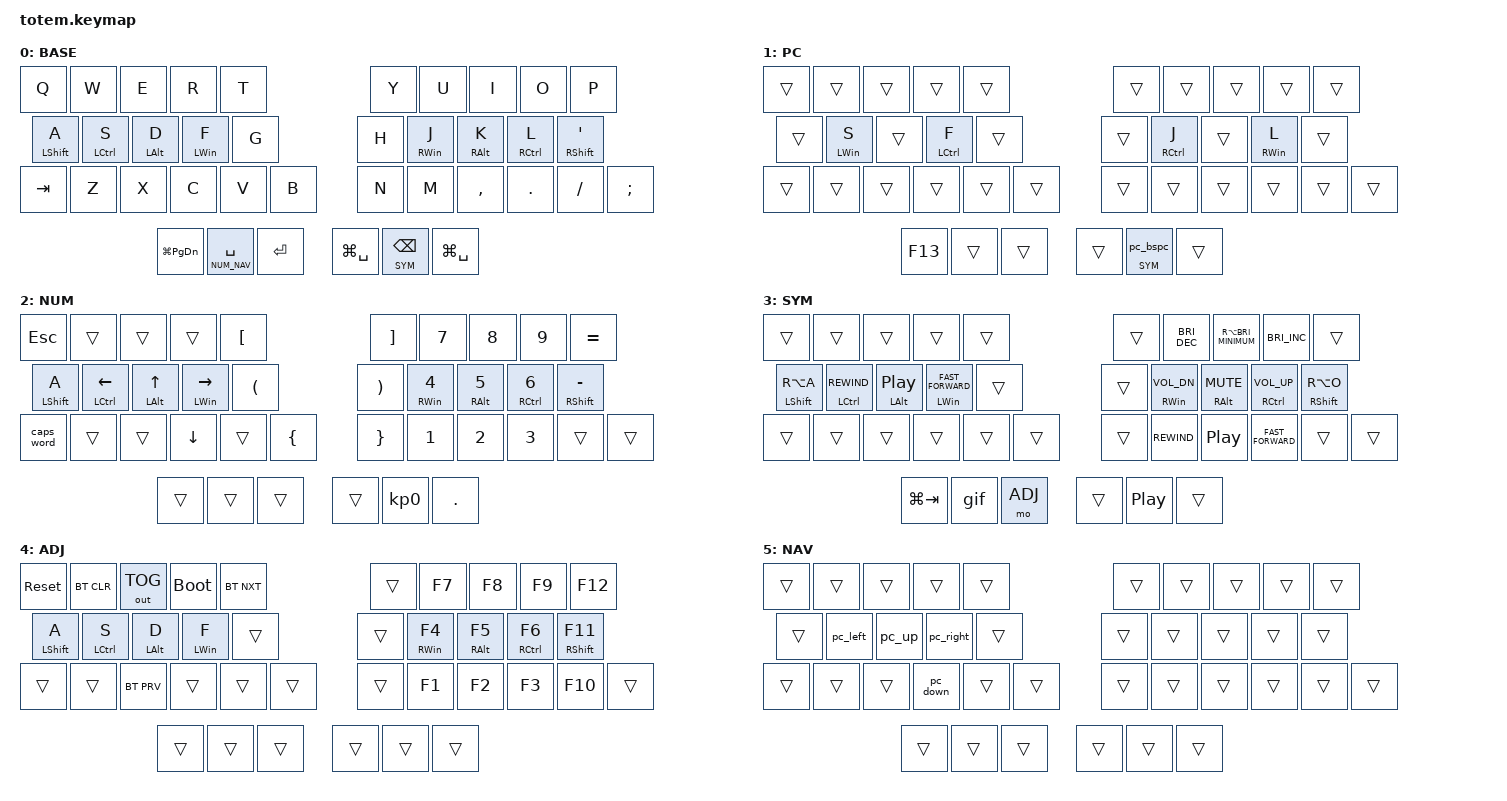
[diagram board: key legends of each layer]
//
//                                                        ▀▀▀▀▀     ▀▀▀▀▀          ▀▀█▀▀
//                                                        ▄▀▀▀▄  ▄  ▄▀▀▀▄  ▄  ▄▀▀▀▄  █  ▄▀▀▀▄
//                                                        █   █  █  █   █  █  █   █  █  █   █
//                                                         ▀▀▀   █   ▀▀▀   █   ▀▀▀   ▀   ▀▀▀
//                                                               █      ▄▄▄█▄▄▄    █   █  
//                                                               ▀      █  █  █     █▄█
//                                                             ▀▀▀▀▀    █  █  █      ▀
//                                                                      ▀  ▀  ▀
//
// ▄▄▄▄▄▄▄▄▄▄▄▄▄▄▄▄▄▄▄▄▄▄▄▄▄▄▄▄▄▄▄▄▄▄▄▄▄▄▄▄▄▄▄▄▄▄▄▄▄▄▄▄▄▄▄▄▄▄▄▄▄▄▄▄▄▄▄▄▄▄▄▄▄▄▄▄▄▄▄▄▄▄▄▄▄▄▄▄▄▄▄▄▄▄▄▄▄▄▄▄▄▄▄▄▄▄▄▄▄▄▄▄▄▄▄▄▄▄▄▄▄▄▄▄▄▄▄▄▄▄▄▄▄▄▄▄▄▄▄▄▄▄▄▄▄▄▄▄▄

#include <behaviors.dtsi>
#include <dt-bindings/zmk/behaviors.h>
#include <dt-bindings/zmk/bt.h>
#include <dt-bindings/zmk/keys.h>
#include <dt-bindings/zmk/outputs.h>

#define BASE 0
#define PC 1
#define NUM_NAV 2
#define SYM 3
#define ADJ 4
#define PC_NAV 5

&mt {
    quick-tap-ms = <150>;
    flavor = "balanced";
    tapping-term-ms = <300>;
};

/ {
    combos {
        compatible = "zmk,combos";

        combo_esc {
            timeout-ms = <50>;
            key-positions = <0 1>;
            bindings = <&kp ESC>;
        };

        combo_tvp {
            timeout-ms = <100>;
            key-positions = <11 12 13>;
            bindings = <&tog 0>;
        };

        combo_studio_unlock {
            timeout-ms = <250>;
            key-positions = <0 9>;
            bindings = <&studio_unlock>;
        };
    };

    macros {
        gif: gif {
            label = "giphy";
            compatible = "zmk,behavior-macro";
            #binding-cells = <0>;
            bindings =
                <&macro_press>,
                <&kp LSHFT>,
                <&macro_tap>,
                <&kp N2>,
                <&macro_release>,
                <&kp LSHFT>,
                <&macro_tap>,
                <&kp G &kp I &kp F>;
        };

        delete_line_start: delete_line_start {
            label = "DELETE_LINE_START";
            compatible = "zmk,behavior-macro";
            #binding-cells = <0>;
            bindings =
                <&macro_press>,
                <&kp LSHFT>,
                <&macro_tap>,
                <&kp HOME>,
                <&macro_release>,
                <&kp LSHFT>,
                <&macro_tap>,
                <&kp BACKSPACE>;
        };
    };

    behaviors {
        // A mod-morph masks modifiers listed in `mods` by default. Shift is
        // deliberately omitted from the PC navigation morphs so selection
        // remains active across repeated arrow presses.
        bspc_del: bspc_del {
            compatible = "zmk,behavior-mod-morph";
            label = "BSPC_DEL";
            bindings = <&kp BACKSPACE>, <&kp DELETE>;

            #binding-cells = <0>;
            mods = <(MOD_LSFT|MOD_RSFT)>;
        };

        pc_left_alt: pc_left_alt {
            compatible = "zmk,behavior-mod-morph";
            #binding-cells = <0>;
            bindings = <&kp LEFT>, <&kp LC(LEFT)>;
            mods = <(MOD_LALT|MOD_RALT)>;
        };

        pc_left: pc_left {
            compatible = "zmk,behavior-mod-morph";
            #binding-cells = <0>;
            bindings = <&pc_left_alt>, <&kp HOME>;
            mods = <(MOD_LCTL|MOD_RCTL)>;
        };

        pc_right_alt: pc_right_alt {
            compatible = "zmk,behavior-mod-morph";
            #binding-cells = <0>;
            bindings = <&kp RIGHT>, <&kp LC(RIGHT)>;
            mods = <(MOD_LALT|MOD_RALT)>;
        };

        pc_right: pc_right {
            compatible = "zmk,behavior-mod-morph";
            #binding-cells = <0>;
            bindings = <&pc_right_alt>, <&kp END>;
            mods = <(MOD_LCTL|MOD_RCTL)>;
        };

        pc_up_alt: pc_up_alt {
            compatible = "zmk,behavior-mod-morph";
            #binding-cells = <0>;
            bindings = <&kp UP>, <&kp LC(UP)>;
            mods = <(MOD_LALT|MOD_RALT)>;
        };

        pc_up: pc_up {
            compatible = "zmk,behavior-mod-morph";
            #binding-cells = <0>;
            bindings = <&pc_up_alt>, <&kp LC(HOME)>;
            mods = <(MOD_LCTL|MOD_RCTL)>;
        };

        pc_down_alt: pc_down_alt {
            compatible = "zmk,behavior-mod-morph";
            #binding-cells = <0>;
            bindings = <&kp DOWN>, <&kp LC(DOWN)>;
            mods = <(MOD_LALT|MOD_RALT)>;
        };

        pc_down: pc_down {
            compatible = "zmk,behavior-mod-morph";
            #binding-cells = <0>;
            bindings = <&pc_down_alt>, <&kp LC(END)>;
            mods = <(MOD_LCTL|MOD_RCTL)>;
        };

        pc_bspc_shift: pc_bspc_shift {
            compatible = "zmk,behavior-mod-morph";
            #binding-cells = <0>;
            bindings = <&kp BACKSPACE>, <&kp DELETE>;
            mods = <(MOD_LSFT|MOD_RSFT)>;
        };

        pc_bspc_alt: pc_bspc_alt {
            compatible = "zmk,behavior-mod-morph";
            #binding-cells = <0>;
            bindings = <&pc_bspc_shift>, <&kp LC(BACKSPACE)>;
            mods = <(MOD_LALT|MOD_RALT)>;
        };

        pc_bspc: pc_bspc {
            compatible = "zmk,behavior-mod-morph";
            #binding-cells = <0>;
            bindings = <&pc_bspc_alt>, <&delete_line_start>;
            mods = <(MOD_LCTL|MOD_RCTL)>;
        };

        pc_bspc_lt: pc_bspc_layer_tap {
            compatible = "zmk,behavior-hold-tap";
            #binding-cells = <2>;
            flavor = "tap-preferred";
            tapping-term-ms = <200>;
            bindings = <&mo>, <&pc_bspc>;
        };

    };

    conditional_layers {
        compatible = "zmk,conditional-layers";

        pc_nav {
            if-layers = <PC NUM_NAV>;
            then-layer = <PC_NAV>;
        };
    };

    keymap {
        compatible = "zmk,keymap";

        // ▄▄▄▄▄▄▄▄▄▄▄▄▄▄▄▄▄▄▄▄▄▄▄▄▄▄▄▄▄▄▄▄▄▄▄▄▄▄▄▄▄▄▄▄▄▄▄▄▄▄▄▄▄▄▄▄▄▄▄▄▄▄▄▄▄▄▄▄▄▄▄▄▄▄▄▄▄▄▄▄▄▄▄▄▄▄▄▄▄▄▄▄▄▄▄▄▄▄▄▄▄▄▄▄▄▄▄▄▄▄▄▄▄▄▄▄▄▄▄▄▄▄▄▄▄▄▄▄▄▄▄▄▄▄▄▄▄▄▄▄▄▄▄▄▄▄▄▄▄

        base_layer {
            display-name = "BASE";
            // ┏━━━━━━━━━━━━━━━━━━━━━━━━━━━━━━━━━━━━━━━┓

            label = "BASE";

            // ┗━━━━━━━━━━━━━━━━━━━━━━━━━━━━━━━━━━━━━━━┛
            //             ┏━━━━━━━━━━━┳━━━━━━━━━━━┳━━━━━━━━━━━┳━━━━━━━━━━━┳━━━━━━━━━━━┓   ┏━━━━━━━━━━━┳━━━━━━━━━━━┳━━━━━━━━━━━┳━━━━━━━━━━━┳━━━━━━━━━━━┓
            //             ┃     Q     ┃     W     ┃     F     ┃     P     ┃     G     ┃   ┃     J     ┃     L     ┃     U     ┃     Y     ┃     ;     ┃
            //             ┣━━━━━━━━━━━╋━━━━━━━━━━━╋━━━━━━━━━━━╋━━━━━━━━━━━╋━━━━━━━━━━━┫   ┣━━━━━━━━━━━╋━━━━━━━━━━━╋━━━━━━━━━━━╋━━━━━━━━━━━╋━━━━━━━━━━━┫
            //             ┃     A     ┃     R     ┃     S     ┃     T     ┃     D     ┃   ┃     H     ┃     N     ┃     E     ┃     I     ┃     O     ┃
            // ┏━━━━━━━━━━━╋━━━━━━━━━━━╋━━━━━━━━━━━╋━━━━━━━━━━━╋━━━━━━━━━━━╋━━━━━━━━━━━┫   ┣━━━━━━━━━━━╋━━━━━━━━━━━╋━━━━━━━━━━━╋━━━━━━━━━━━╋━━━━━━━━━━━╋━━━━━━━━━━━┓
            // ┃     Q     ┃     Z     ┃     X     ┃     C     ┃     V     ┃     B     ┃   ┃     K     ┃     M     ┃     ,     ┃     .     ┃     /     ┃     \     ┃
            // ┗━━━━━━━━━━━┻━━━━━━━━━━━┻━━━━━━━━━━━╋━━━━━━━━━━━╋━━━━━━━━━━━╋━━━━━━━━━━━┫   ┣━━━━━━━━━━━╋━━━━━━━━━━━╋━━━━━━━━━━━╋━━━━━━━━━━━┻━━━━━━━━━━━┻━━━━━━━━━━━┛
            //                                     ┃    DEL    ┃    TAB    ┃    SPC    ┃   ┃   ENTER   ┃           ┃   BSPC    ┃
            //                                     ┗━━━━━━━━━━━┻━━━━━━━━━━━┻━━━━━━━━━━━┛   ┗━━━━━━━━━━━┻━━━━━━━━━━━┻━━━━━━━━━━━┛

            bindings = <
         &kp Q             &kp W               &kp E              &kp R        &kp T         &kp Y          &kp U            &kp I            &kp O                &kp P
         &mt LEFT_SHIFT A  &mt LEFT_CONTROL S  &mt LEFT_ALT D     &mt LWIN F   &kp G         &kp H          &mt RWIN J       &mt RIGHT_ALT K  &mt RIGHT_CONTROL L  &mt RIGHT_SHIFT APOSTROPHE
&kp TAB  &kp Z             &kp X               &kp C              &kp V        &kp B         &kp N          &kp M            &kp COMMA        &kp DOT              &kp SLASH                   &kp SEMICOLON
                                               &kp LG(PAGE_DOWN)  &lt NUM_NAV SPACE  &kp RETURN    &kp LG(SPACE)  &lt SYM BACKSPACE  &kp LG(SPACE)
            >;
        };

        pc_layer {
            display-name = "PC";
            bindings = <
         &trans              &trans            &trans          &trans         &trans  &trans  &trans           &trans            &trans        &trans
         &trans              &mt LWIN S        &trans          &mt LCTRL F   &trans  &trans  &mt RCTRL J     &trans            &mt RWIN L    &trans
&trans   &trans              &trans            &trans          &trans         &trans  &trans  &trans           &trans            &trans        &trans       &trans
                                               &kp F13         &trans         &trans  &trans  &pc_bspc_lt SYM 0  &trans
            >;
        };

        num {
            display-name = "NUM";
            bindings = <
            &kp ESC           &trans                 &trans           &trans          &kp LBKT          &kp RBKT               &kp NUMBER_7       &kp NUMBER_8            &kp NUMBER_9                &kp EQUAL
            &mt LEFT_SHIFT A  &mt LEFT_CONTROL LEFT  &mt LEFT_ALT UP  &mt LWIN RIGHT  &kp LPAR          &kp RIGHT_PARENTHESIS  &mt RWIN NUMBER_4  &mt RIGHT_ALT NUMBER_5  &mt RIGHT_CONTROL NUMBER_6  &mt RIGHT_SHIFT MINUS
&caps_word  &trans            &trans                 &kp DOWN         &trans          &kp LEFT_BRACE    &kp RBRC               &kp NUMBER_1       &kp NUMBER_2            &kp NUMBER_3                &trans                 &trans
                                                     &trans           &trans          &trans            &trans                 &kp KP_NUMBER_0    &kp DOT
            >;
        };

        sim_layer {
            display-name = "SYM";
            // ┏━━━━━━━━━━━━━━━━━━━━━━━━━━━━━━━━━━━━━━━┓

            label = "SYM";

            // ┗━━━━━━━━━━━━━━━━━━━━━━━━━━━━━━━━━━━━━━━┛
            //             ┏━━━━━━━━━━━┳━━━━━━━━━━━┳━━━━━━━━━━━┳━━━━━━━━━━━┳━━━━━━━━━━━┓   ┏━━━━━━━━━━━┳━━━━━━━━━━━┳━━━━━━━━━━━┳━━━━━━━━━━━┳━━━━━━━━━━━┓
            //             ┃     !     ┃     @     ┃     #     ┃     $     ┃     %     ┃   ┃     ˆ     ┃     &     ┃     Ü     ┃     '     ┃     "     ┃
            //             ┣━━━━━━━━━━━╋━━━━━━━━━━━╋━━━━━━━━━━━╋━━━━━━━━━━━╋━━━━━━━━━━━┫   ┣━━━━━━━━━━━╋━━━━━━━━━━━╋━━━━━━━━━━━╋━━━━━━━━━━━╋━━━━━━━━━━━┫
            //             ┃     Ä     ┃           ┃    SZ     ┃           ┃           ┃   ┃   MUTE    ┃   YEN     ┃   EURO    ┃  POUND    ┃     Ö     ┃
            // ┏━━━━━━━━━━━╋━━━━━━━━━━━╋━━━━━━━━━━━╋━━━━━━━━━━━╋━━━━━━━━━━━╋━━━━━━━━━━━┫   ┣━━━━━━━━━━━╋━━━━━━━━━━━╋━━━━━━━━━━━╋━━━━━━━━━━━╋━━━━━━━━━━━╋━━━━━━━━━━━┓
            // ┃           ┃  EMAIL1   ┃  EMAIL2   ┃           ┃           ┃           ┃   ┃   VOL-    ┃   VOL+    ┃   LAST    ┃   NEXT    ┃     \     ┃           ┃
            // ┗━━━━━━━━━━━┻━━━━━━━━━━━┻━━━━━━━━━━━╋━━━━━━━━━━━╋━━━━━━━━━━━╋━━━━━━━━━━━┫   ┣━━━━━━━━━━━╋━━━━━━━━━━━╋━━━━━━━━━━━╋━━━━━━━━━━━┻━━━━━━━━━━━┻━━━━━━━━━━━┛
            //                                     ┃           ┃    GIF    ┃    ADJ    ┃   ┃           ┃           ┃           ┃
            //                                     ┗━━━━━━━━━━━┻━━━━━━━━━━━┻━━━━━━━━━━━┛   ┗━━━━━━━━━━━┻━━━━━━━━━━━┻━━━━━━━━━━━┛

            bindings = <
        &trans                &trans                     &trans                     &trans                   &trans    &trans  &kp C_BRIGHTNESS_DEC  &kp RA(C_BRIGHTNESS_MINIMUM)  &kp C_BRIGHTNESS_INC        &trans
        &mt LEFT_SHIFT RA(A)  &mt LEFT_CONTROL C_REWIND  &mt LEFT_ALT C_PLAY_PAUSE  &mt LWIN C_FAST_FORWARD  &trans    &trans  &mt RWIN C_VOL_DN     &mt RIGHT_ALT K_MUTE          &mt RIGHT_CONTROL C_VOL_UP  &mt RIGHT_SHIFT RA(O)
&trans  &trans                &trans                     &trans                     &trans                   &trans    &trans  &kp C_REWIND          &kp C_PLAY_PAUSE              &kp C_FAST_FORWARD          &trans                 &trans
                                                         &kp LG(TAB)                &gif                     &mo ADJ   &trans  &kp C_PP              &trans
            >;
        };

        adjust_layer {
            display-name = "ADJ";
            // ┏━━━━━━━━━━━━━━━━━━━━━━━━━━━━━━━━━━━━━━━┓

            label = "ADJ";

            // ┗━━━━━━━━━━━━━━━━━━━━━━━━━━━━━━━━━━━━━━━┛
            //             ┏━━━━━━━━━━━┳━━━━━━━━━━━┳━━━━━━━━━━━┳━━━━━━━━━━━┳━━━━━━━━━━━┓   ┏━━━━━━━━━━━┳━━━━━━━━━━━┳━━━━━━━━━━━┳━━━━━━━━━━━┳━━━━━━━━━━━┓
            //             ┃   RESET   ┃ BT CLEAR  ┃  OUT TOG  ┃           ┃           ┃   ┃           ┃    F7     ┃    F8     ┃    F9     ┃    F12    ┃
            //             ┣━━━━━━━━━━━╋━━━━━━━━━━━╋━━━━━━━━━━━╋━━━━━━━━━━━╋━━━━━━━━━━━┫   ┣━━━━━━━━━━━╋━━━━━━━━━━━╋━━━━━━━━━━━╋━━━━━━━━━━━╋━━━━━━━━━━━┫
            //             ┃ BOOTLOAD  ┃ BT NEXT   ┃           ┃           ┃           ┃   ┃           ┃    F4     ┃    F5     ┃    F6     ┃    F11    ┃
            // ┏━━━━━━━━━━━╋━━━━━━━━━━━╋━━━━━━━━━━━╋━━━━━━━━━━━╋━━━━━━━━━━━╋━━━━━━━━━━━┫   ┣━━━━━━━━━━━╋━━━━━━━━━━━╋━━━━━━━━━━━╋━━━━━━━━━━━╋━━━━━━━━━━━╋━━━━━━━━━━━┓
            // ┃           ┃           ┃ BT PREV   ┃           ┃           ┃           ┃   ┃           ┃    F1     ┃    F2     ┃    F3     ┃    F10    ┃           ┃
            // ┗━━━━━━━━━━━┻━━━━━━━━━━━┻━━━━━━━━━━━╋━━━━━━━━━━━╋━━━━━━━━━━━╋━━━━━━━━━━━┫   ┣━━━━━━━━━━━╋━━━━━━━━━━━╋━━━━━━━━━━━╋━━━━━━━━━━━┻━━━━━━━━━━━┻━━━━━━━━━━━┛
            //                                     ┃           ┃           ┃           ┃   ┃           ┃           ┃           ┃
            //                                     ┗━━━━━━━━━━━┻━━━━━━━━━━━┻━━━━━━━━━━━┛   ┗━━━━━━━━━━━┻━━━━━━━━━━━┻━━━━━━━━━━━┛

            bindings = <
        &sys_reset        &bt BT_CLR          &out OUT_TOG    &bootloader  &bt BT_NXT    &trans  &kp F7       &kp F8            &kp F9                &kp F12
        &mt LEFT_SHIFT A  &mt LEFT_CONTROL S  &mt LEFT_ALT D  &mt LWIN F   &trans        &trans  &mt RWIN F4  &mt RIGHT_ALT F5  &mt RIGHT_CONTROL F6  &mt RIGHT_SHIFT F11
&trans  &trans            &bt BT_PRV          &trans          &trans       &trans        &trans  &kp F1       &kp F2            &kp F3                &kp F10              &trans
                                              &trans          &trans       &trans        &trans  &trans       &trans
            >;
        };

        pc_nav_layer {
            display-name = "NAV";
            bindings = <
            &trans  &trans     &trans   &trans      &trans  &trans  &trans  &trans  &trans  &trans
            &trans  &pc_left   &pc_up   &pc_right  &trans  &trans  &trans  &trans  &trans  &trans
&trans      &trans  &trans     &pc_down &trans      &trans  &trans  &trans  &trans  &trans  &trans  &trans
                    &trans     &trans   &trans      &trans  &trans  &trans
            >;
        };
    };
};
